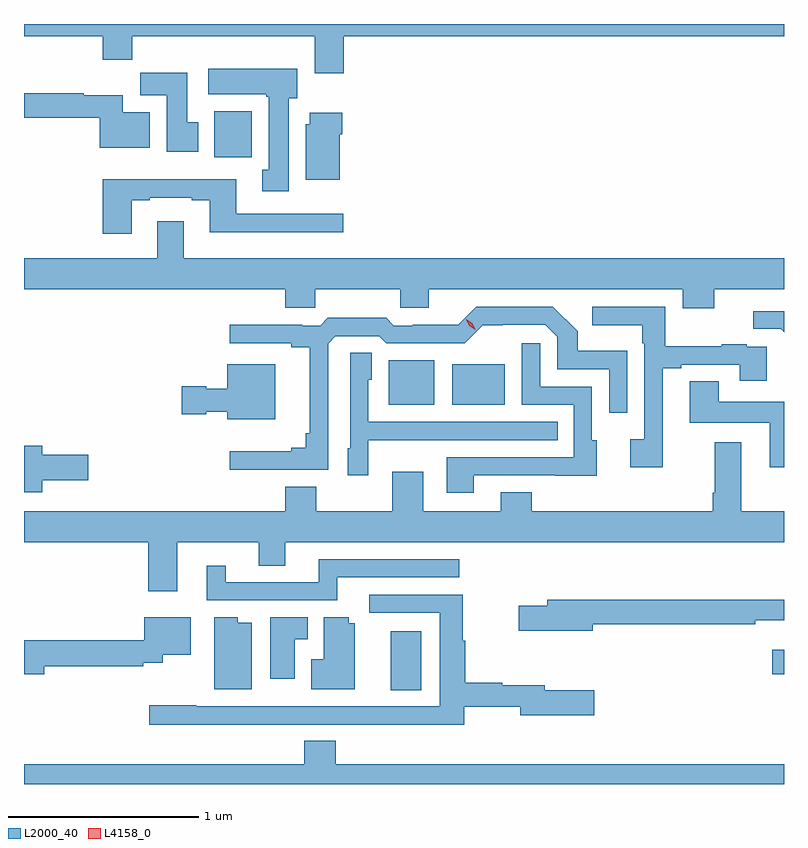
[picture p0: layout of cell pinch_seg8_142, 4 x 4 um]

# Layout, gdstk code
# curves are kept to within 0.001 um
import gdstk
lib = gdstk.Library(unit=1e-6, precision=1e-09)
def R(c, l, rs):  # rectangles x0, y0, x1, y1
    for r in rs: c.add(gdstk.rectangle(r[:2], r[2:], *l))
def P(c, l, *ps):  # polygons
    for p in ps: c.add(gdstk.Polygon(p, *l))
L2000_40 = (2000, 40)
L4158_0 = (4158, 0)

pinch_seg8_142 = lib.new_cell('pinch_seg8_142')
R(pinch_seg8_142, L2000_40, [(766.946,1149.022,767.107,1149.331), (768.954,1149.106,769.017,1149.235), (766.937,1150.523,767.176,1150.759), (767.27,1150.523,767.548,1150.738), (766.019,1151.828,766.216,1152.07)])
P(pinch_seg8_142, L2000_40, [(765.017,1152.464),(765.431,1152.464),(765.431,1152.34),(765.587,1152.34),(765.587,1152.464),(766.547,1152.464),(766.547,1152.27),(766.7,1152.27),(766.7,1152.464),(769.017,1152.464),(769.017,1152.528),(765.017,1152.528)],
  [(766.411,1152.138),(766.456,1152.138),(766.456,1152.292),(765.987,1152.292),(765.987,1152.158),(766.291,1152.158),(766.291,1152.145),(766.304,1152.145),(766.304,1151.762),(766.271,1151.762),(766.271,1151.649),(766.411,1151.649)],
  [(765.934,1152.012),(765.877,1152.012),(765.877,1152.271),(765.628,1152.271),(765.628,1152.152),(765.767,1152.152),(765.767,1151.856),(765.934,1151.856)],
  [(765.679,1152.064),(765.538,1152.064),(765.538,1152.152),(765.332,1152.152),(765.332,1152.163),(765.017,1152.163),(765.017,1152.034),(765.416,1152.034),(765.416,1151.876),(765.679,1151.876)],
  [(766.678,1151.948),(766.691,1151.948),(766.691,1152.061),(766.52,1152.061),(766.52,1152),(766.499,1152),(766.499,1151.708),(766.678,1151.708)],
  [(765.583,1151.601),(765.679,1151.601),(765.679,1151.613),(765.899,1151.613),(765.899,1151.601),(765.995,1151.601),(765.995,1151.432),(766.696,1151.432),(766.696,1151.529),(766.135,1151.529),(766.135,1151.71),(765.431,1151.71),(765.431,1151.424),(765.583,1151.424)],
  [(765.859,1151.491),(765.719,1151.491),(765.719,1151.296),(765.017,1151.296),(765.017,1151.132),(766.391,1151.132),(766.391,1151.034),(766.551,1151.034),(766.551,1151.132),(766.996,1151.132),(766.996,1151.034),(767.146,1151.034),(767.146,1151.132),(768.485,1151.132),(768.485,1151.033),(768.649,1151.033),(768.649,1151.132),(769.017,1151.132),(769.017,1151.296),(765.859,1151.296)],
  [(768.379,1150.716),(768.475,1150.716),(768.475,1150.734),(768.785,1150.734),(768.785,1150.65),(768.925,1150.65),(768.925,1150.83),(768.821,1150.83),(768.821,1150.843),(768.689,1150.843),(768.689,1150.832),(768.391,1150.832),(768.391,1151.04),(768.009,1151.04),(768.009,1150.943),(768.27,1150.943),(768.27,1150.847),(768.282,1150.847),(768.282,1150.342),(768.207,1150.342),(768.207,1150.194),(768.379,1150.194)],
  [(766.617,1150.845),(766.656,1150.884),(766.887,1150.884),(766.923,1150.848),(767.337,1150.848),(767.432,1150.943),(767.76,1150.944),(767.823,1150.881),(767.823,1150.71),(768.096,1150.71),(768.096,1150.482),(768.192,1150.482),(768.192,1150.807),(767.931,1150.807),(767.931,1150.91),(767.8,1151.04),(767.397,1151.04),(767.303,1150.946),(767.062,1150.946),(767.062,1150.941),(766.962,1150.941),(766.923,1150.981),(766.615,1150.981),(766.575,1150.941),(766.481,1150.941),(766.481,1150.946),(766.101,1150.946),(766.101,1150.848),(766.424,1150.848),(766.424,1150.826),(766.52,1150.826),(766.52,1150.375),(766.501,1150.375),(766.501,1150.298),(766.424,1150.298),(766.424,1150.279),(766.101,1150.279),(766.101,1150.182),(766.617,1150.182)],
  [(769.017,1151.017),(768.855,1151.017),(768.855,1150.923),(768.999,1150.923),(769.017,1150.905)],
  [(767.383,1150.152),(767.813,1150.152),(767.813,1150.151),(768.031,1150.151),(768.031,1150.338),(768.006,1150.338),(768.006,1150.62),(767.733,1150.62),(767.733,1150.849),(767.637,1150.849),(767.637,1150.524),(767.91,1150.524),(767.91,1150.248),(767.243,1150.248),(767.243,1150.062),(767.383,1150.062)],
  [(766.83,1150.337),(767.147,1150.337),(767.147,1150.338),(767.825,1150.338),(767.825,1150.434),(766.83,1150.434),(766.83,1150.656),(766.846,1150.656),(766.846,1150.799),(766.734,1150.799),(766.734,1150.296),(766.721,1150.296),(766.721,1150.152),(766.83,1150.152)],
  [(766.339,1150.738),(766.088,1150.738),(766.088,1150.609),(765.975,1150.609),(765.975,1150.622),(765.846,1150.622),(765.846,1150.475),(765.975,1150.475),(765.975,1150.487),(766.088,1150.487),(766.088,1150.448),(766.339,1150.448)],
  [(769.017,1150.54),(768.673,1150.54),(768.673,1150.649),(768.521,1150.649),(768.521,1150.43),(768.941,1150.43),(768.941,1150.194),(769.017,1150.194)],
  [(765.823,1149.8),(766.253,1149.8),(766.253,1149.676),(766.393,1149.676),(766.393,1149.8),(769.017,1149.8),(769.017,1149.964),(768.793,1149.964),(768.793,1150.327),(768.653,1150.327),(768.653,1150.06),(768.641,1150.06),(768.641,1149.964),(767.689,1149.964),(767.689,1150.063),(767.525,1150.063),(767.525,1149.964),(767.119,1149.964),(767.119,1150.171),(766.955,1150.171),(766.955,1149.964),(766.555,1149.964),(766.555,1150.093),(766.391,1150.093),(766.391,1149.964),(765.017,1149.964),(765.017,1149.8),(765.671,1149.8),(765.671,1149.543),(765.823,1149.543)],
  [(765.112,1150.127),(765.355,1150.127),(765.355,1150.262),(765.112,1150.262),(765.112,1150.309),(765.017,1150.309),(765.017,1150.064),(765.112,1150.064)],
  [(766.666,1149.615),(767.308,1149.615),(767.308,1149.711),(766.568,1149.711),(766.568,1149.591),(766.078,1149.591),(766.078,1149.676),(765.98,1149.676),(765.98,1149.495),(766.666,1149.495)],
  [(766.409,1148.841),(766.741,1148.841),(766.741,1148.84),(767.334,1148.84),(767.334,1148.934),(767.63,1148.934),(767.63,1148.891),(768.019,1148.891),(768.019,1149.021),(767.758,1149.021),(767.758,1149.047),(767.534,1149.047),(767.534,1149.062),(767.339,1149.062),(767.339,1149.281),(767.326,1149.281),(767.326,1149.525),(766.833,1149.525),(766.833,1149.429),(767.204,1149.429),(767.204,1148.937),(765.923,1148.937),(765.923,1148.942),(765.675,1148.942),(765.675,1148.84),(766.409,1148.84)],
  [(768.01,1149.37),(768.866,1149.37),(768.866,1149.39),(769.017,1149.39),(769.017,1149.499),(767.771,1149.499),(767.771,1149.465),(767.622,1149.465),(767.622,1149.335),(768.01,1149.335)],
  [(765.124,1149.148),(765.644,1149.148),(765.644,1149.166),(765.747,1149.166),(765.747,1149.209),(765.895,1149.209),(765.895,1149.406),(765.651,1149.406),(765.651,1149.284),(765.017,1149.284),(765.017,1149.106),(765.124,1149.106)],
  [(766.441,1149.29),(766.51,1149.29),(766.51,1149.406),(766.313,1149.406),(766.313,1149.081),(766.441,1149.081)],
  [(766.216,1149.376),(766.141,1149.376),(766.141,1149.406),(766.019,1149.406),(766.019,1149.026),(766.216,1149.026)],
  [(766.759,1149.373),(766.725,1149.373),(766.725,1149.406),(766.595,1149.406),(766.595,1149.184),(766.53,1149.184),(766.53,1149.026),(766.759,1149.026)],
  [(769.017,1148.632),(766.658,1148.632),(766.658,1148.756),(766.493,1148.756),(766.493,1148.632),(765.017,1148.632),(765.017,1148.528),(769.017,1148.528)])
P(pinch_seg8_142, L4158_0, [(767.391,1150.919),(767.36,1150.939),(767.344,1150.973),(767.344,1150.973),(767.344,1150.973),(767.375,1150.953),(767.392,1150.919),(767.392,1150.919)])

lib.write_gds('pinch_seg8_142.gds')
